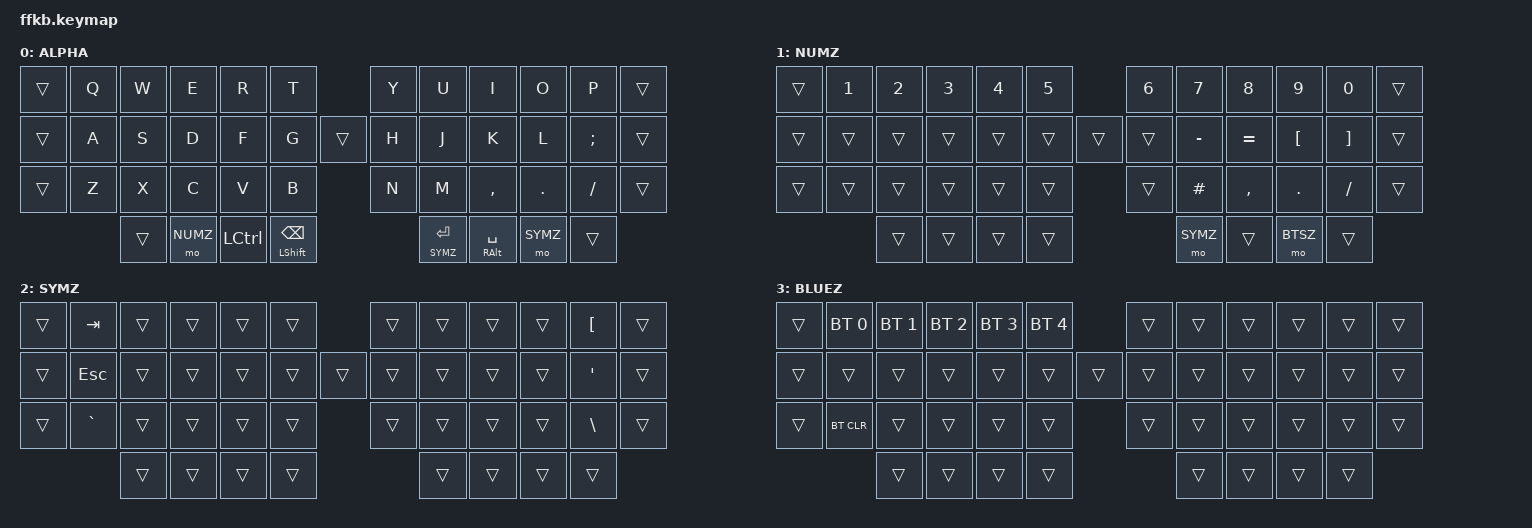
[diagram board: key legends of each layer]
#include <behaviors.dtsi>
#include <dt-bindings/zmk/keys.h>
#include <dt-bindings/zmk/bt.h>
#include <dt-bindings/zmk/ext_power.h>
#include <dt-bindings/zmk/outputs.h>

#define ALPH 0     // alphaz
#define NUMZ 1     // numz
#define SYMZ 2     // symz
#define BTSZ 3     // bluez

// slash like for comments, and equals

&mt {
    tapping-term-ms = <200>;
    flavor = "tap-preferred";
};

/ {
    // some other configs go here 
};

/ {

    keymap {
        compatible = "zmk,keymap";

        default_layer {
            label = "ALPHA";
            bindings = <
  //,--------|--------|--------|--------|--------|--------|                 |--------|--------|--------|--------|--------|--------|
     &trans     &kp Q   &kp W    &kp E    &kp R    &kp T                      &kp Y    &kp U    &kp I    &kp O    &kp P     &trans
  //,--------|--------|--------|--------|--------|--------|                 |--------|--------|--------|--------|--------|--------|
     &trans     &kp A   &kp S    &kp D    &kp F    &kp G        &trans        &kp H    &kp J    &kp K    &kp L    &kp SEMI  &trans 
  //,--------|--------|--------|--------|--------|--------|                 |--------|--------|--------|--------|--------|--------|
     &trans     &kp Z    &kp X    &kp C    &kp V    &kp B                     &kp N    &kp M   &kp COMMA &kp DOT  &kp FSLH  &trans
  //,--------|--------|--------|--------|--------|--------|                 |--------|--------|--------|--------|--------|--------|
                        &trans  &mo NUMZ  &kp LCTRL &mt LSHIFT BSPC          &mt SYMZ RET  &mt RALT SPACE &mo SYMZ &trans
  //                           |--------|--------|--------|                 |--------|--------|--------|
            >;
        };

        nav_layer {
            label = "NUMZ";
            bindings = <
  //,--------|--------|--------|--------|--------|--------|                 |--------|--------|--------|--------|--------|--------|
    &trans     &kp N1   &kp N2   &kp N3   &kp N4   &kp N5                     &kp N6   &kp N7   &kp N8   &kp N9   &kp N0    &trans
  //,--------|--------|--------|--------|--------|--------|                 |--------|--------|--------|--------|--------|--------|
    &trans     &trans   &trans   &trans   &trans   &trans        &trans       &trans  &kp MINUS &kp EQUAL &kp LBKT &kp RBKT &trans
  //,--------|--------|--------|--------|--------|--------|                 |--------|--------|--------|--------|--------|--------|
    &trans     &trans   &trans   &trans   &trans   &trans                     &trans  &kp HASH &kp COMMA &kp DOT &kp FSLH   &trans
  //,--------|--------|--------|--------|--------|--------|                 |--------|--------|--------|--------|--------|--------|
                        &trans    &trans   &trans  &trans                   &mo SYMZ  &trans  &mo BTSZ &trans
  //                           |--------|--------|--------|                 |--------|--------|--------|
  // 
            >;
        };

        sym_layer {
            label = "SYMZ";
            bindings = <
  //,--------|--------|--------|--------|--------|--------|                 |--------|--------|--------|--------|--------|--------|
    &trans     &kp TAB &trans   &trans   &trans   &trans                     &trans     &trans   &trans   &trans  &kp LBKT &trans       //&kp LBRC
  //,--------|--------|--------|--------|--------|--------|                 |--------|--------|--------|--------|--------|--------|
    &trans     &kp ESC &trans   &trans   &trans   &trans        &trans       &trans     &trans   &trans   &trans  &kp SQT  &trans
  //,--------|--------|--------|--------|--------|--------|                 |--------|--------|--------|--------|--------|--------|
    &trans    &kp GRAVE &trans   &trans   &trans   &trans                     &trans     &trans   &trans  &trans  &kp BSLH &trans
  //,--------|--------|--------|--------|--------|--------|                 |--------|--------|--------|--------|--------|--------|
                        &trans  &trans    &trans   &trans                    &trans    &trans   &trans  &trans
  //                           |--------|--------|--------|                 |--------|--------|--------|
  // 
            >;
        };

        func_layer {
            label = "BLUEZ";
            bindings = <
  //,--------|--------|--------|--------|--------|--------|                 |--------|--------|--------|--------|--------|--------|
    &trans &bt BT_SEL 0 &bt BT_SEL 1 &bt BT_SEL 2 &bt BT_SEL 3 &bt BT_SEL 4 &trans   &trans     &trans   &trans   &trans   &trans
  //,--------|--------|--------|--------|--------|--------|                 |--------|--------|--------|--------|--------|--------|
    &trans     &trans   &trans   &trans   &trans   &trans        &trans       &trans     &trans   &trans   &trans   &trans   &trans
  //,--------|--------|--------|--------|--------|--------|                 |--------|--------|--------|--------|--------|--------|
    &trans    &bt BT_CLR  &trans   &trans   &trans   &trans                     &trans     &trans   &trans   &trans   &trans   &trans
  //,--------|--------|--------|--------|--------|--------|                 |--------|--------|--------|--------|--------|--------|
                        &trans   &trans    &trans   &trans                    &trans    &trans   &trans  &trans
  //                           |--------|--------|--------|                 |--------|--------|--------|
  // 
            >;
        };

    };
};
